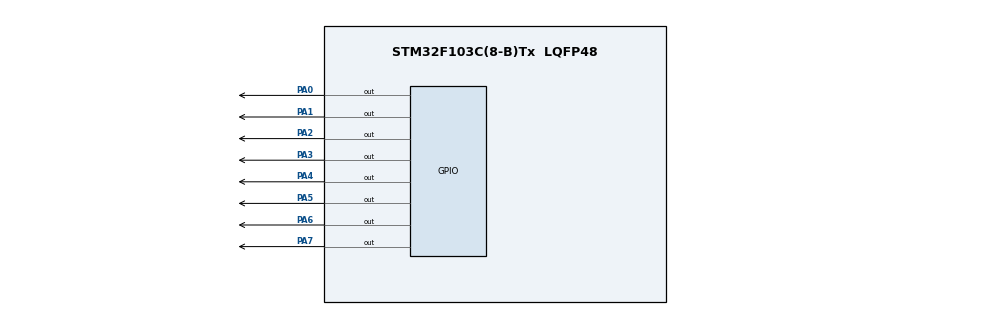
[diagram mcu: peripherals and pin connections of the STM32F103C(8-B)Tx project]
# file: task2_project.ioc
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Mcu.Family=STM32F1
Mcu.Name=STM32F103C(8-B)Tx
Mcu.Package=LQFP48
NVIC.PriorityGroup=NVIC_PRIORITYGROUP_4
PA0-WKUP.Signal=GPIO_Output
PA1.Signal=GPIO_Output
PA2.Signal=GPIO_Output
PA3.Signal=GPIO_Output
PA4.Signal=GPIO_Output
PA5.Signal=GPIO_Output
PA6.Signal=GPIO_Output
PA7.Signal=GPIO_Output
ProjectManager.HeapSize=0x200
ProjectManager.StackSize=0x400
ProjectManager.TargetToolchain=CMake
RCC.APB1Freq_Value=8000000
RCC.APB2Freq_Value=8000000
VP_SYS_VS_ND.Mode=No_Debug
board=custom

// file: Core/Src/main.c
/* USER CODE BEGIN Header */
/**
  ******************************************************************************
  * @file           : main.c
  * @brief          : Main program body
  ******************************************************************************
  * @attention
  *
  * Copyright (c) 2026 STMicroelectronics.
  * All rights reserved.
  *
  * This software is licensed under terms that can be found in the LICENSE file
  * in the root directory of this software component.
  * If no LICENSE file comes with this software, it is provided AS-IS.
  *
  ******************************************************************************
  */
/* USER CODE END Header */
#include "main.h"

void SystemClock_Config(void);
static void MX_GPIO_Init(void);

/* USER CODE BEGIN 0 */
#include "stm32f1xx_hal.h"
#include <stdint.h>
static const uint8_t number_table[10] =
{
  0x3F,
  0x06,
  0x5B,
  0x4F,
  0x66,
  0x6D,
  0x7D,
  0x07,
  0x7F,
  0x6F
};
static void Seg7_GPIO_Init(void)
{
  __HAL_RCC_GPIOA_CLK_ENABLE();
  GPIO_InitTypeDef gpio = {0};
  gpio.Pin = GPIO_PIN_0 |
             GPIO_PIN_1 |
             GPIO_PIN_2 |
             GPIO_PIN_3 |
             GPIO_PIN_4 |
             GPIO_PIN_5 |
             GPIO_PIN_6 |
             GPIO_PIN_7;
  gpio.Mode = GPIO_MODE_OUTPUT_PP;
  gpio.Speed = GPIO_SPEED_FREQ_LOW;
  HAL_GPIO_Init(GPIOA, &gpio);
  HAL_GPIO_WritePin(
      GPIOA,
      GPIO_PIN_0 |
      GPIO_PIN_1 |
      GPIO_PIN_2 |
      GPIO_PIN_3 |
      GPIO_PIN_4 |
      GPIO_PIN_5 |
      GPIO_PIN_6 |
      GPIO_PIN_7,
      GPIO_PIN_SET
  );
}
static void Seg7_Show(uint8_t number)
{
  if (number > 9)
  {
    return;
  }
  uint8_t data = number_table[number];

  for (uint8_t i = 0; i < 7; i++)
  {
    uint16_t pin = (uint16_t)(GPIO_PIN_0 << i);

    if (data & (1U << i))
    {
      HAL_GPIO_WritePin(GPIOA, pin, GPIO_PIN_RESET);
    }
    else
    {
      HAL_GPIO_WritePin(GPIOA, pin, GPIO_PIN_SET);
    }
  }

  HAL_GPIO_WritePin(GPIOA, GPIO_PIN_7, GPIO_PIN_SET);
}

/* USER CODE END 0 */

int main(void)
{

  /* USER CODE BEGIN 1 */
  uint8_t number = 0;
  /* USER CODE END 1 */

  /* MCU Configuration--------------------------------------------------------*/

  /* Reset of all peripherals, Initializes the Flash interface and the Systick. */
  HAL_Init();

  /* Configure the system clock */
  SystemClock_Config();

  /* Initialize all configured peripherals */
  MX_GPIO_Init();
  /* USER CODE BEGIN 2 */
  Seg7_GPIO_Init();

  /* USER CODE END 2 */

  /* Infinite loop */
  /* USER CODE BEGIN WHILE */
  while (1) {
    Seg7_Show(number);
    HAL_Delay(1000);

    number++;
    if (number > 9)
    {
      number = 0;
    }

    /* USER CODE END WHILE */

  }
}

void SystemClock_Config(void)
{
  RCC_OscInitTypeDef RCC_OscInitStruct = {0};
  RCC_ClkInitTypeDef RCC_ClkInitStruct = {0};

  /** Initializes the RCC Oscillators according to the specified parameters
  * in the RCC_OscInitTypeDef structure.
  */
  RCC_OscInitStruct.OscillatorType = RCC_OSCILLATORTYPE_HSI;
  RCC_OscInitStruct.HSIState = RCC_HSI_ON;
  RCC_OscInitStruct.HSICalibrationValue = RCC_HSICALIBRATION_DEFAULT;
  RCC_OscInitStruct.PLL.PLLState = RCC_PLL_NONE;
  if (HAL_RCC_OscConfig(&RCC_OscInitStruct) != HAL_OK)
  {
    Error_Handler();
  }

  /** Initializes the CPU, AHB and APB buses clocks
  */
  RCC_ClkInitStruct.ClockType = RCC_CLOCKTYPE_HCLK|RCC_CLOCKTYPE_SYSCLK
                              |RCC_CLOCKTYPE_PCLK1|RCC_CLOCKTYPE_PCLK2;
  RCC_ClkInitStruct.SYSCLKSource = RCC_SYSCLKSOURCE_HSI;
  RCC_ClkInitStruct.AHBCLKDivider = RCC_SYSCLK_DIV1;
  RCC_ClkInitStruct.APB1CLKDivider = RCC_HCLK_DIV1;
  RCC_ClkInitStruct.APB2CLKDivider = RCC_HCLK_DIV1;

  if (HAL_RCC_ClockConfig(&RCC_ClkInitStruct, FLASH_LATENCY_0) != HAL_OK)
  {
    Error_Handler();
  }
}

static void MX_GPIO_Init(void)
{
  GPIO_InitTypeDef GPIO_InitStruct = {0};

  /* GPIO Ports Clock Enable */
  __HAL_RCC_GPIOA_CLK_ENABLE();

  /*Configure GPIO pin Output Level */
  HAL_GPIO_WritePin(GPIOA, GPIO_PIN_0|GPIO_PIN_1|GPIO_PIN_2|GPIO_PIN_3
                          |GPIO_PIN_4|GPIO_PIN_5|GPIO_PIN_6|GPIO_PIN_7, GPIO_PIN_RESET);

  /*Configure GPIO pins : PA0 PA1 PA2 PA3
                           PA4 PA5 PA6 PA7 */
  GPIO_InitStruct.Pin = GPIO_PIN_0|GPIO_PIN_1|GPIO_PIN_2|GPIO_PIN_3
                          |GPIO_PIN_4|GPIO_PIN_5|GPIO_PIN_6|GPIO_PIN_7;
  GPIO_InitStruct.Mode = GPIO_MODE_OUTPUT_PP;
  GPIO_InitStruct.Pull = GPIO_NOPULL;
  GPIO_InitStruct.Speed = GPIO_SPEED_FREQ_LOW;
  HAL_GPIO_Init(GPIOA, &GPIO_InitStruct);

}

void Error_Handler(void)
{
  __disable_irq();
  while (1)
  {
  }
}
